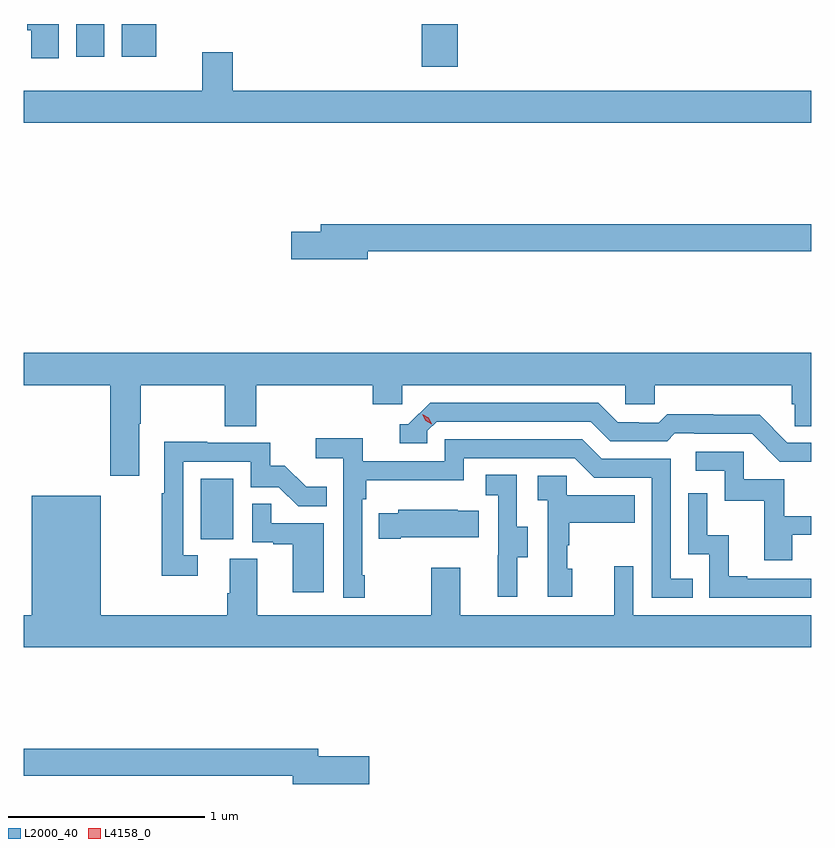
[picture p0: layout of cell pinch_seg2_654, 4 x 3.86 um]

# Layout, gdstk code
import gdstk
lib = gdstk.Library(unit=1e-6, precision=1e-09)
def R(c, l, rs):  # rectangles x0, y0, x1, y1
    for r in rs: c.add(gdstk.rectangle(r[:2], r[2:], *l))
def P(c, l, *ps):  # polygons
    for p in ps: c.add(gdstk.Polygon(p, *l))
L2000_40 = (2000, 40)
L4158_0 = (4158, 0)

pinch_seg2_654 = lib.new_cell('pinch_seg2_654')
R(pinch_seg2_654, L2000_40, [(1019.354,588.246,1019.518,588.553), (1020.476,590.646,1020.659,590.862), (1018.721,590.696,1018.864,590.862), (1018.952,590.696,1019.128,590.862)])
P(pinch_seg2_654, L2000_40, [(1018.633,590.862),(1018.472,590.862),(1018.472,590.829),(1018.493,590.829),(1018.493,590.688),(1018.633,590.688)],
  [(1022.455,590.524),(1019.516,590.524),(1019.516,590.719),(1019.363,590.719),(1019.363,590.524),(1018.455,590.524),(1018.455,590.36),(1022.455,590.36)],
  [(1020.202,589.708),(1022.455,589.708),(1022.455,589.844),(1019.963,589.844),(1019.963,589.808),(1019.814,589.808),(1019.814,589.666),(1020.202,589.666)],
  [(1019.041,588.832),(1019.049,588.832),(1019.049,589.028),(1019.476,589.028),(1019.476,588.82),(1019.636,588.82),(1019.636,589.028),(1020.227,589.028),(1020.227,588.93),(1020.378,588.93),(1020.378,589.028),(1021.509,589.028),(1021.509,588.93),(1021.659,588.93),(1021.659,589.028),(1022.357,589.028),(1022.357,588.93),(1022.371,588.93),(1022.371,588.82),(1022.455,588.82),(1022.455,589.192),(1018.455,589.192),(1018.455,589.028),(1018.894,589.028),(1018.894,588.567),(1019.041,588.567)],
  [(1022.455,588.735),(1022.334,588.735),(1022.192,588.877),(1021.956,588.877),(1021.956,588.88),(1021.723,588.88),(1021.681,588.837),(1021.578,588.837),(1021.578,588.84),(1021.471,588.84),(1021.372,588.939),(1020.519,588.939),(1020.408,588.828),(1020.365,588.828),(1020.365,588.732),(1020.504,588.732),(1020.504,588.795),(1020.552,588.843),(1021.335,588.843),(1021.434,588.744),(1021.723,588.744),(1021.762,588.783),(1021.861,588.783),(1021.861,588.78),(1022.154,588.78),(1022.295,588.639),(1022.455,588.639)],
  [(1020.187,588.061),(1020.174,588.061),(1020.174,588.449),(1020.194,588.449),(1020.194,588.545),(1020.69,588.545),(1020.69,588.657),(1021.254,588.657),(1021.353,588.558),(1021.644,588.558),(1021.644,587.949),(1021.853,587.949),(1021.853,588.045),(1021.74,588.045),(1021.74,588.654),(1021.39,588.654),(1021.291,588.753),(1020.594,588.753),(1020.594,588.642),(1020.176,588.642),(1020.176,588.758),(1019.937,588.758),(1019.937,588.656),(1020.078,588.656),(1020.078,587.949),(1020.187,587.949)],
  [(1019.338,588.165),(1019.265,588.165),(1019.265,588.639),(1019.607,588.639),(1019.607,588.51),(1019.751,588.51),(1019.849,588.412),(1019.993,588.412),(1019.993,588.511),(1019.889,588.511),(1019.782,588.618),(1019.706,588.618),(1019.706,588.735),(1019.387,588.735),(1019.387,588.74),(1019.169,588.74),(1019.169,588.479),(1019.157,588.479),(1019.157,588.06),(1019.338,588.06)],
  [(1022.359,588.267),(1022.455,588.267),(1022.455,588.363),(1022.317,588.363),(1022.317,588.549),(1022.112,588.549),(1022.112,588.69),(1021.869,588.69),(1021.869,588.594),(1022.016,588.594),(1022.016,588.441),(1022.215,588.441),(1022.215,588.138),(1022.359,588.138)],
  [(1020.961,588.154),(1021.015,588.154),(1021.015,588.309),(1020.96,588.309),(1020.96,588.572),(1020.801,588.572),(1020.801,588.469),(1020.864,588.469),(1020.864,588.165),(1020.863,588.165),(1020.863,587.952),(1020.961,587.952)],
  [(1021.24,588.096),(1021.215,588.096),(1021.215,588.215),(1021.225,588.215),(1021.225,588.329),(1021.559,588.329),(1021.559,588.469),(1021.212,588.469),(1021.212,588.567),(1021.065,588.567),(1021.065,588.443),(1021.116,588.443),(1021.116,587.952),(1021.24,587.952)],
  [(1022.455,588.045),(1022.131,588.045),(1022.131,588.058),(1022.036,588.058),(1022.036,588.266),(1021.926,588.266),(1021.926,588.478),(1021.83,588.478),(1021.83,588.168),(1021.938,588.168),(1021.938,587.949),(1022.455,587.949)],
  [(1022.455,587.86),(1021.551,587.86),(1021.551,588.109),(1021.454,588.109),(1021.454,587.86),(1020.673,587.86),(1020.673,588.1),(1020.526,588.1),(1020.526,587.86),(1019.641,587.86),(1019.641,588.146),(1019.501,588.146),(1019.501,587.972),(1019.489,587.972),(1019.489,587.86),(1018.846,587.86),(1018.846,588.466),(1018.496,588.466),(1018.496,587.86),(1018.455,587.86),(1018.455,587.696),(1022.455,587.696)],
  [(1019.98,588.327),(1019.711,588.327),(1019.711,588.425),(1019.616,588.425),(1019.616,588.231),(1019.723,588.231),(1019.723,588.219),(1019.822,588.219),(1019.822,587.976),(1019.98,587.976)],
  [(1020.37,588.254),(1020.767,588.254),(1020.767,588.391),(1020.659,588.391),(1020.659,588.394),(1020.357,588.394),(1020.357,588.376),(1020.259,588.376),(1020.259,588.247),(1020.37,588.247)],
  [(1020.211,587.144),(1019.95,587.144),(1019.95,587.18),(1018.455,587.18),(1018.455,587.044),(1019.822,587.044),(1019.822,587.002),(1020.211,587.002)])
P(pinch_seg2_654, L4158_0, [(1020.527,588.828),(1020.496,588.848),(1020.48,588.88),(1020.48,588.881),(1020.48,588.881),(1020.511,588.861),(1020.527,588.829),(1020.527,588.828)])

lib.write_gds('pinch_seg2_654.gds')
